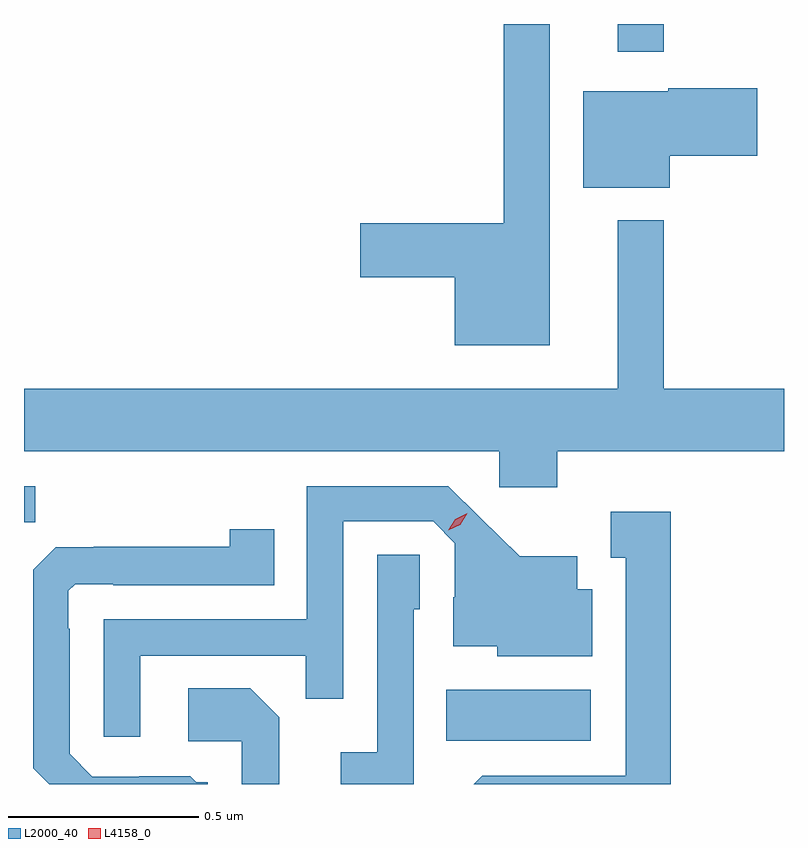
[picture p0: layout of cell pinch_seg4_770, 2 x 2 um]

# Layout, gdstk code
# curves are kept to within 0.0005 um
import gdstk
lib = gdstk.Library(unit=1e-6, precision=1e-09)
def R(c, l, rs):  # rectangles x0, y0, x1, y1
    for r in rs: c.add(gdstk.rectangle(r[:2], r[2:], *l))
def P(c, l, *ps):  # polygons
    for p in ps: c.add(gdstk.Polygon(p, *l))
L2000_40 = (2000, 40)
L4158_0 = (4158, 0)

pinch_seg4_770 = lib.new_cell('pinch_seg4_770')
R(pinch_seg4_770, L2000_40, [(771.622,817.37,772.003,817.504), (770.511,817.945,770.541,818.04), (772.073,819.183,772.195,819.256)])
P(pinch_seg4_770, L2000_40, [(771.895,819.256),(771.774,819.256),(771.774,818.732),(771.396,818.732),(771.396,818.59),(771.644,818.59),(771.644,818.411),(771.895,818.411)],
  [(772.21,818.909),(772.441,818.909),(772.441,819.087),(772.206,819.087),(772.206,819.079),(771.983,819.079),(771.983,818.825),(772.21,818.825)],
  [(771.914,818.132),(772.511,818.132),(772.511,818.296),(772.195,818.296),(772.195,818.74),(772.073,818.74),(772.073,818.296),(770.511,818.296),(770.511,818.132),(771.762,818.132),(771.762,818.037),(771.914,818.037)],
  [(770.817,817.593),(771.253,817.593),(771.253,817.48),(771.351,817.48),(771.351,817.947),(771.588,817.947),(771.645,817.89),(771.645,817.748),(771.641,817.748),(771.641,817.619),(771.756,817.619),(771.756,817.592),(772.006,817.592),(772.006,817.768),(771.967,817.768),(771.967,817.855),(771.815,817.855),(771.628,818.04),(771.255,818.04),(771.255,817.689),(770.721,817.689),(770.721,817.38),(770.817,817.38)],
  [(772.213,817.972),(772.055,817.972),(772.055,817.851),(772.094,817.851),(772.094,817.278),(771.717,817.278),(771.695,817.256),(772.213,817.256)],
  [(770.995,817.26),(770.964,817.26),(770.948,817.276),(770.814,817.276),(770.814,817.275),(770.691,817.275),(770.631,817.335),(770.631,817.664),(770.628,817.664),(770.628,817.764),(770.646,817.782),(770.746,817.782),(770.746,817.779),(771.17,817.779),(771.17,817.927),(771.052,817.927),(771.052,817.88),(770.695,817.88),(770.695,817.879),(770.594,817.879),(770.535,817.82),(770.535,817.298),(770.577,817.256),(770.995,817.256)],
  [(771.537,817.716),(771.552,817.716),(771.552,817.859),(771.441,817.859),(771.441,817.339),(771.345,817.339),(771.345,817.256),(771.537,817.256)],
  [(771.183,817.432),(771.107,817.508),(770.943,817.508),(770.943,817.368),(771.084,817.368),(771.084,817.256),(771.183,817.256)])
P(pinch_seg4_770, L4158_0, [(771.628,817.924),(771.628,817.924),(771.646,817.953),(771.677,817.968),(771.677,817.968),(771.677,817.968),(771.659,817.938),(771.628,817.924)])

lib.write_gds('pinch_seg4_770.gds')
